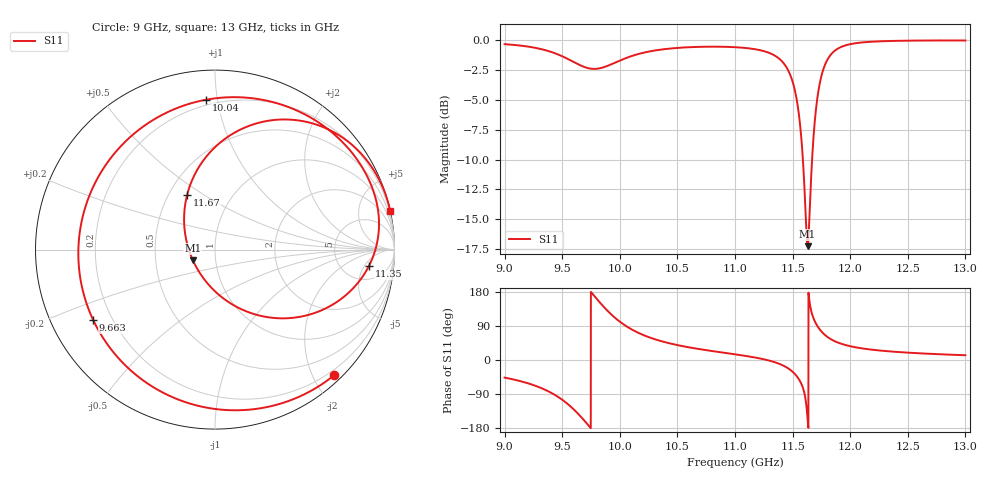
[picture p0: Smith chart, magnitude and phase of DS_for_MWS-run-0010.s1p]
! TOUCHSTONE file generated by CST DESIGN STUDIO
! Date and time: Tue Feb  4 18:27:34 2025
! Project name: C:\Work\MatlabApps\UnitCellOptimizationMatlab\CST\unitcell.cst
! Tree item: Tasks\Sweep1\SPara1\S-Parameters
! Header version: 2024
! Port assignment regex: !\s*Touchstone port\s*([0-9]+)\s*=\s*(CST MWS port|CST DES external port|CST DES block port)\s*(.+)\s* \(\"(.*)\"\)(\s*mode\s*([0-9]+))?.*
! Touchstone port assignment:
! Touchstone port 1 = CST DES external port 1 ("")
# GHz S MA R 50
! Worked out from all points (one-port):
!   4001 points, 9 GHz to 13 GHz, reference 50 ohm
!   lowest |S11| = -17.3 dB at 11.63 GHz (marker M1), VSWR 1.32, Z = 38.8 - j4.65 ohm
!   |S11| at or under -10 dB: 11.59 GHz to 11.67 GHz (79.81 MHz wide, 0.686 % of centre)
!   S11 on the Smith chart (normalised r, x): 9 GHz: 0.12, -2.32; 9.663 GHz: 0.13, -0.26; 10.04 GHz: 0.17, +0.93; 11.35 GHz: 9, -6; 11.67 GHz: 0.62, +0.42; 13 GHz: 0.03, +9.06
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9  0.9646 -46.5
9.27  0.9302 -68.3
9.401  0.8959 -86.1
9.5  0.8581 -104.9
9.582  0.8201 -125.2
9.663  0.7839 -150.0
9.734  0.7633 -174.9
9.804  0.7608 159.8
9.902  0.785 127.2
10  0.823 101.2
10.035  0.8364 93.5
10.244  0.8963 61.1
10.5  0.93 39.3
11  0.9366 15.0
11.348  0.8622 -6.1
11.434  0.7883 -17.1
11.5  0.6712 -31.0
11.572  0.4081 -60.3
11.617  0.1688 -113.9
11.63  0.1368 -154.5
11.645  0.1751 158.2
11.673  0.3406 117.2
11.721  0.6005 86.9
11.773  0.7718 68.1
11.87  0.9082 49.0
12  0.9645 36.4
12.5  0.9977 19.4
13  0.9993 12.6
